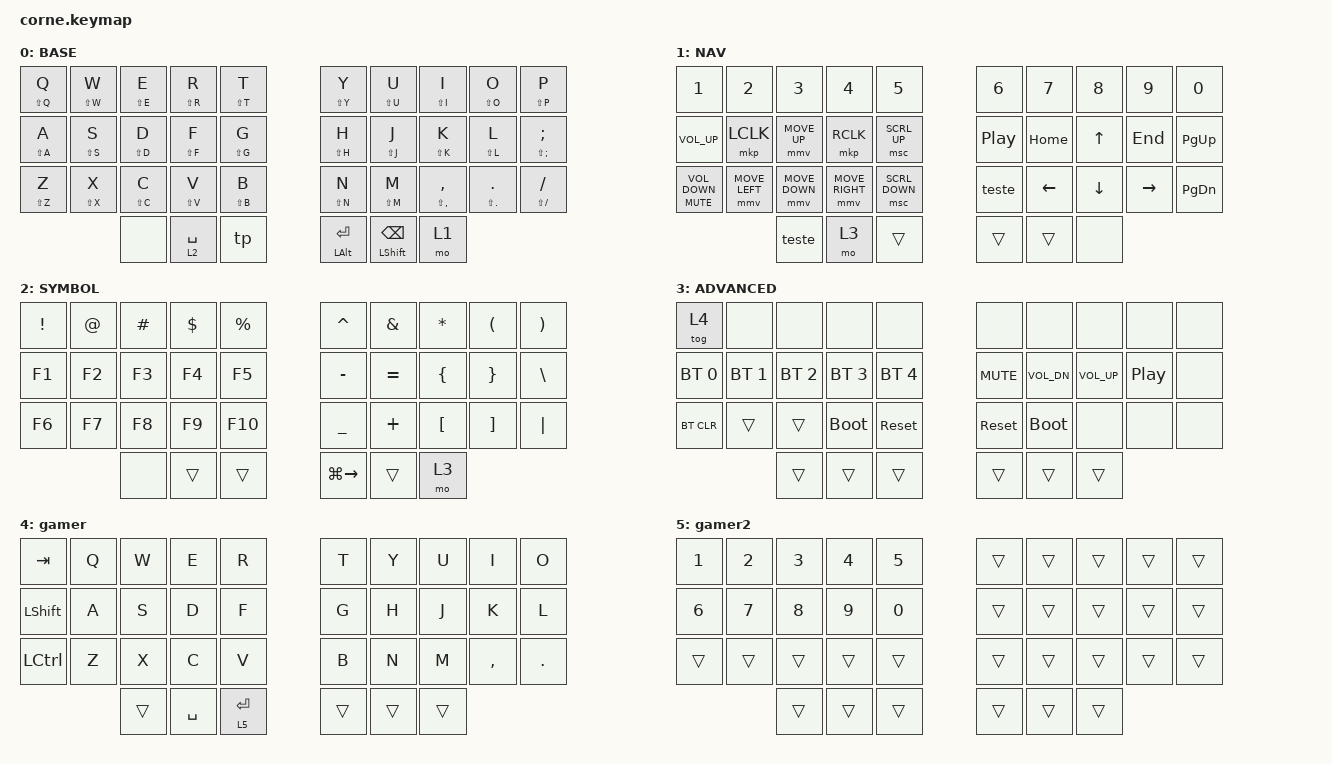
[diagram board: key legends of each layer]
/ {
    chosen { zmk,matrix_transform = &five_column_transform; };
};

#include <dt-bindings/zmk/mouse.h>
#include <behaviors.dtsi>
#include <dt-bindings/zmk/bt.h>
#include <dt-bindings/zmk/keys.h>
#include <dt-bindings/zmk/pointing.h>

#define TAPPING_TERM 200
#define ZMK_MOUSE_DEFAULT_MOVE_VAL 1500  // 600
#define ZMK_MOUSE_DEFAULT_SCRL_VAL 10    // 10

/ {
    behaviors {
        /*
    * td_lock groups locking functions into one key:
    *  - tap once to lock the host
    *  - tap twice to put the host to sleep
    */

        as: as {
            compatible = "zmk,behavior-hold-tap";
            label = "AS";
            bindings = <&kp>, <&kp>;

            #binding-cells = <2>;
            tapping-term-ms = <200>;
            flavor = "tap-preferred";
        };

        tp: tp {
            compatible = "zmk,behavior-tap-dance";
            label = "TP";
            #binding-cells = <0>;
            bindings = <&kp LGUI>, <&kp LEFT_CONTROL>;

            tapping-term-ms = <300>;
        };
    };

    combos {
        compatible = "zmk,combos";

        ESC_ {
            bindings = <&kp ESC>;
            key-positions = <0 1>;
        };

        TAB_ {
            bindings = <&kp TAB>;
            key-positions = <10 11>;
        };

        CAPS_ {
            bindings = <&kp CAPSLOCK>;
            key-positions = <10 20>;
        };

        undo {
            bindings = <&kp LC(Z)>;
            key-positions = <20 21>;
        };

        cut {
            bindings = <&kp LC(X)>;
            key-positions = <21 22>;
        };

        copy {
            bindings = <&kp LC(C)>;
            key-positions = <22 23>;
        };

        paste {
            bindings = <&kp LC(V)>;
            key-positions = <23 24>;
        };

        noundo {
            bindings = <&kp LC(Y)>;
            key-positions = <20 21 22>;
        };

        del {
            bindings = <&kp DELETE>;
            key-positions = <8 9>;
        };

        aspas {
            bindings = <&kp SQT>;
            key-positions = <18 19>;
        };

        tio {
            bindings = <&kp TILDE>;
            key-positions = <17 18>;
        };

        interrogacao {
            bindings = <&kp QUESTION>;
            key-positions = <28 29>;
        };
    };

    macros {
        teste: teste {
            compatible = "zmk,behavior-macro";
            #binding-cells = <0>;
            bindings = <&kp LS(M) &kp A &kp I &kp O &kp AT &kp N3 &kp N2 &kp N6 &kp N1 &kp N5 &kp N9 &kp N4 &kp N8 &kp N7>;
            label = "TESTE";
        };
    };

    keymap {
        compatible = "zmk,keymap";

        base_layer {
            label = "BASE";
            bindings = <
  &as LS(Q) Q  &as LS(W) W  &as LS(E) E  &as LS(R) R  &as LS(T) T    &as LS(Y) Y         &as LS(U) U           &as LS(I) I          &as LS(O) O      &as LS(P) P
  &as LS(A) A  &as LS(S) S  &as LS(D) D  &as LS(F) F  &as LS(G) G    &as LS(H) H         &as LS(J) J           &as LS(K) K          &as LS(L) L      &as LS(SEMICOLON) SEMICOLON
  &as LS(Z) Z  &as LS(X) X  &as LS(C) C  &as LS(V) V  &as LS(B) B    &as LS(N) N         &as LS(M) M           &as LS(COMMA) COMMA  &as LS(DOT) DOT  &as LS(FSLH) FSLH
                            &none        &lt 2 SPACE  &tp            &mt LEFT_ALT ENTER  &mt LSHIFT BACKSPACE  &mo 1
            >;
        };

        nav_layer {
            label = "NAV";
            bindings = <
  &kp N1                    &kp N2          &kp N3          &kp N4           &kp N5            &kp N6            &kp N7    &kp N8    &kp N9     &kp N0
  &kp C_VOLUME_UP           &mkp LCLK       &mmv MOVE_UP    &mkp RCLK        &msc SCRL_UP      &kp C_PLAY_PAUSE  &kp HOME  &kp UP    &kp END    &kp PG_UP
  &mt C_MUTE C_VOLUME_DOWN  &mmv MOVE_LEFT  &mmv MOVE_DOWN  &mmv MOVE_RIGHT  &msc SCRL_DOWN    &teste            &kp LEFT  &kp DOWN  &kp RIGHT  &kp PG_DN
                                            &teste          &mo 3            &trans            &trans            &trans    &none
            >;
        };

        symbols_layer {
            label = "SYMBOL";
            bindings = <
  &kp EXCL  &kp AT  &kp HASH  &kp DOLLAR  &kp PERCENT    &kp CARET      &kp AMPS   &kp STAR          &kp LEFT_PARENTHESIS  &kp RIGHT_PARENTHESIS
  &kp F1    &kp F2  &kp F3    &kp F4      &kp F5         &kp MINUS      &kp EQUAL  &kp LEFT_BRACE    &kp RIGHT_BRACE       &kp BSLH
  &kp F6    &kp F7  &kp F8    &kp F9      &kp F10        &kp UNDER      &kp PLUS   &kp LEFT_BRACKET  &kp RIGHT_BRACKET     &kp PIPE
                    &none     &trans      &trans         &kp LG(RIGHT)  &trans     &mo 3
            >;
        };

        Advanced {
            label = "ADVANCED";
            bindings = <
  &tog 4        &none         &none         &none         &none           &none       &none         &none         &none             &none
  &bt BT_SEL 0  &bt BT_SEL 1  &bt BT_SEL 2  &bt BT_SEL 3  &bt BT_SEL 4    &kp K_MUTE  &kp C_VOL_DN  &kp C_VOL_UP  &kp C_PLAY_PAUSE  &none
  &bt BT_CLR    &trans        &trans        &bootloader   &sys_reset      &sys_reset  &bootloader   &none         &none             &none
                              &trans        &trans        &trans          &trans      &trans        &trans
            >;
        };

        gamer {
            bindings = <
  &kp TAB    &kp Q  &kp W   &kp E      &kp R          &kp T   &kp Y   &kp U   &kp I      &kp O
  &kp LSHFT  &kp A  &kp S   &kp D      &kp F          &kp G   &kp H   &kp J   &kp K      &kp L
  &kp LCTRL  &kp Z  &kp X   &kp C      &kp V          &kp B   &kp N   &kp M   &kp COMMA  &kp DOT
                    &trans  &kp SPACE  &lt 5 ENTER    &trans  &trans  &trans
            >;
        };

        gamer2 {
            bindings = <
  &kp N1  &kp N2  &kp N3  &kp N4  &kp N5    &trans  &trans  &trans  &trans  &trans
  &kp N6  &kp N7  &kp N8  &kp N9  &kp N0    &trans  &trans  &trans  &trans  &trans
  &trans  &trans  &trans  &trans  &trans    &trans  &trans  &trans  &trans  &trans
                  &trans  &trans  &trans    &trans  &trans  &trans
            >;
        };
    };

    conditional_layers { compatible = "zmk,conditional-layers"; };
};
